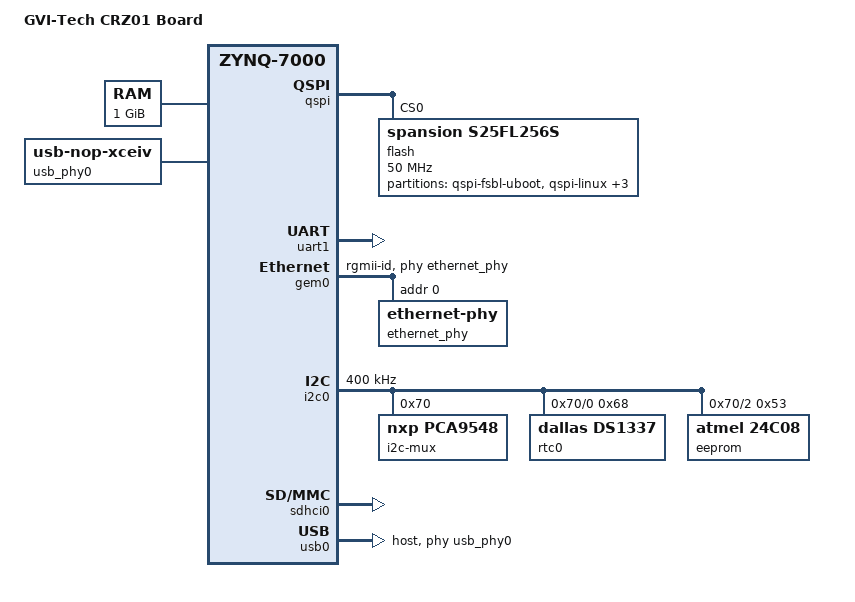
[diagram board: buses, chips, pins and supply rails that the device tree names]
/dts-v1/;
/include/ "zynq-7000.dtsi"

/ {
	model = "GVI-Tech CRZ01 Board";
	compatible = "xlnx,zynq-crz01", "xlnx,zynq-7000";

	aliases {
		serial0 = &uart1;
		spi0 = &qspi;
		mmc0 = &sdhci0;
	};

	memory@0 {
		device_type = "memory";
		reg = <0 0x40000000>;
	};

	chosen {
		bootargs = "earlyprintk";
		stdout-path = "serial0:115200n8";
	};

	usb_phy0: phy0 {
		compatible = "usb-nop-xceiv";
		#phy-cells = <0>;
	};
};

&amba {
	/* empty defintion for kernels that don't have qspi node */
	qspi: spi@e000d000 { };
};

&clkc {
	ps-clk-frequency = <33333333>;
};

&qspi {
	status = "okay";
	is-dual = <1>;
	flash@0 {
		compatible = "spansion,s25fl256s", "jedec,spi-nor";
		reg = <0x0>;
		spi-tx-bus-width = <1>;
		spi-rx-bus-width = <4>;
		spi-max-frequency = <50000000>;
		#address-cells = <1>;
		#size-cells = <1>;

		partition@qspi-fsbl-uboot {
			label = "qspi-fsbl-uboot";
			reg = <0x00000000 0x00500000>;
		};
		partition@qspi-linux {
			label = "qspi-linux";
			reg = <0x00500000 0x00020000>;
		};
		partition@qspi-device-tree {
			label = "qspi-device-tree";
			reg = <0x00520000 0x00020000>;
		};
		partition@qspi-rootfs {
			label = "qspi-rootfs";
			reg = <0x00540000 0x038C0000>;
		};
		partition@qspi-bitstream {
			label = "qspi-bitstream";
			reg = <0x03E00000 0x00200000>;
		};
	};
};

&uart1 {
	status = "okay";
};

&gem0 {
	status = "okay";
	phy-mode = "rgmii-id";
	phy-handle = <&ethernet_phy>;

	ethernet_phy: ethernet-phy@0 {
		reg = <0>;
	};
};

&i2c0 {
	status = "okay";
	clock-frequency = <400000>;

	i2c-mux@70 {
		compatible = "nxp,pca9548";
		#address-cells = <1>;
		#size-cells = <0>;
		reg = <0x70>;

		i2cbus_rtc: i2c@0 {
			#address-cells = <1>;
			#size-cells = <0>;
			reg = <0>;

			rtc0: ds1337@68 {
				compatible = "dallas,ds1337";
				reg = <0x68>;
				//FIXME: fill this in
				//interrupt-parent = <&gpio4>;
				//interrupts = <20 0>;
				//trickle-resistor-ohms = <250>;
			};
		};

		i2cbus_hdmi: i2c@1 {
			#address-cells = <1>;
			#size-cells = <0>;
			reg = <1>;

			//ADV7511 HDMI
		};

		i2cbus_eeprom: i2c@2 {
			#address-cells = <1>;
			#size-cells = <0>;
			reg = <2>;

			eeprom: eeprom@50 {
				compatible = "atmel,24c08";
				reg = <0x53>;
			};
		};

		i2cbus_ext: i2c@3 {
			#address-cells = <1>;
			#size-cells = <0>;
			reg = <3>;

			//Ext I2C
		};

		i2cbus_sfp0: i2c@4 {
			#address-cells = <1>;
			#size-cells = <0>;
			reg = <4>;

			//SFP0
		};

		i2cbus_ext_3v3: i2c@5 {
			#address-cells = <1>;
			#size-cells = <0>;
			reg = <5>;

			//Ext I2C 3V3
		};

		i2cbus_sfp1: i2c@6 {
			#address-cells = <1>;
			#size-cells = <0>;
			reg = <6>;

			//SFP1
		};

		i2cbus_qsfp: i2c@7 {
			#address-cells = <1>;
			#size-cells = <0>;
			reg = <7>;

			//QSFP
		};
	};
};

&sdhci0 {
	status = "okay";
};

&usb0 {
	status = "okay";
	dr_mode = "host";
	usb-phy = <&usb_phy0>;
};
